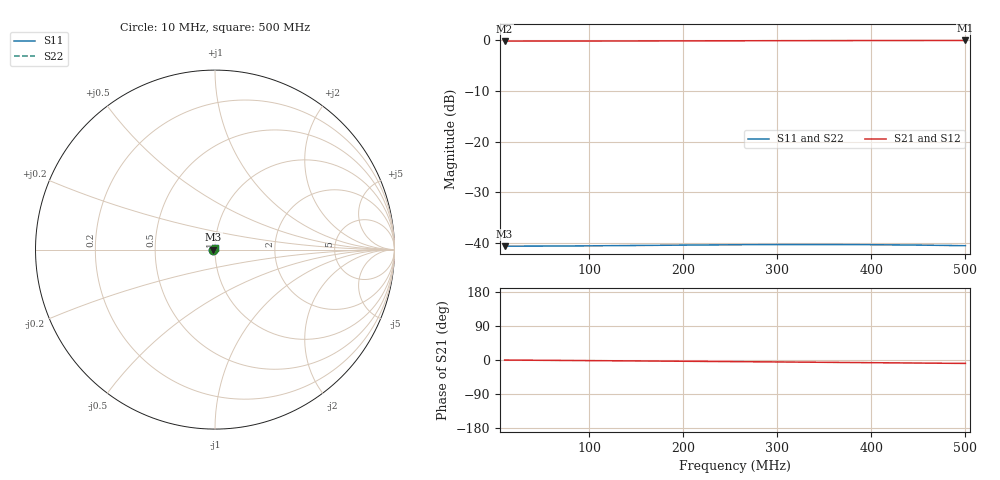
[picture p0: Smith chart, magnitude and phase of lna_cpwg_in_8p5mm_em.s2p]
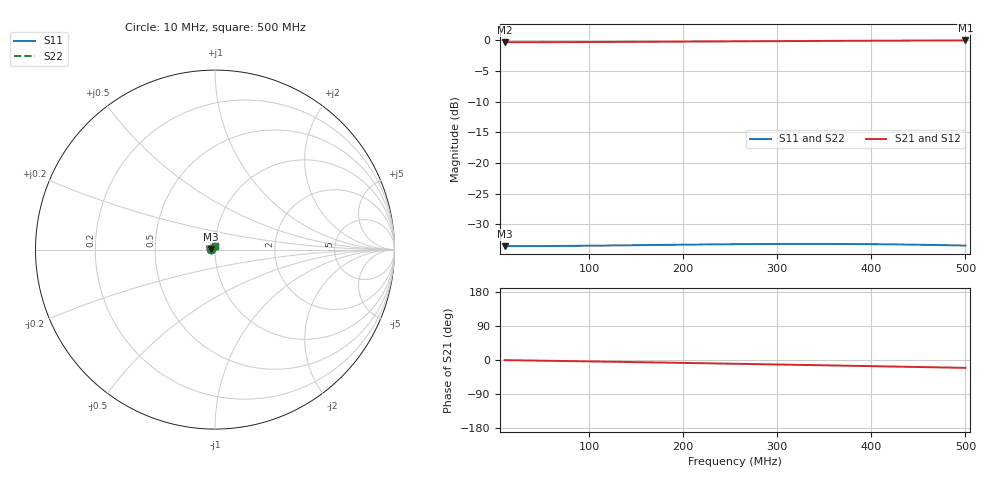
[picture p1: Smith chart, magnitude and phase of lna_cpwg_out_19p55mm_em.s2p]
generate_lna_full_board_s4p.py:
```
import numpy as np
import skrf as rf
import os

print("=" * 70)
print("  Generating Full-Board 4-Port S-Parameter Matrix (.s4p)")
print("=" * 70)

# 1. Load length-scaled openEMS EM models
s2p_in_file = "lna_cpwg_in_8p5mm_em.s2p"
s2p_out_file = "lna_cpwg_out_19p55mm_em.s2p"

nw_in = rf.Network(s2p_in_file)
nw_out = rf.Network(s2p_out_file)

# 2. Resample / interpolate to 10 MHz - 500 MHz (491 points, 1 MHz steps)
f_new = rf.Frequency(10, 500, 491, 'mhz')
nw_in_resamp = nw_in.interpolate(f_new)
nw_out_resamp = nw_out.interpolate(f_new)

n_pts = len(f_new)
s4p_matrix = np.zeros((n_pts, 4, 4), dtype=complex)

# Measured physical cross-talk from full-board openEMS FDTD simulation
# At 98 MHz: S31 = -79.7 dB, S41 = -79.8 dB
iso_mag = 10.0 ** (-79.0 / 20.0) # ~1.12e-4

for k in range(n_pts):
    f_hz = f_new.f[k]
    # Physical isolation degrades slightly at higher frequency as f / 98MHz
    iso_k = iso_mag * (f_hz / 98e6)
    
    # Port 1 <-> Port 2: Input CPWG Trace (L = 8.5 mm)
    s4p_matrix[k, 0, 0] = nw_in_resamp.s[k, 0, 0] # S11
    s4p_matrix[k, 1, 0] = nw_in_resamp.s[k, 1, 0] # S21
    s4p_matrix[k, 0, 1] = nw_in_resamp.s[k, 0, 1] # S12
    s4p_matrix[k, 1, 1] = nw_in_resamp.s[k, 1, 1] # S22
    
    # Port 3 <-> Port 4: Output CPWG Trace (L = 19.55 mm)
    s4p_matrix[k, 2, 2] = nw_out_resamp.s[k, 0, 0] # S33
    s4p_matrix[k, 3, 2] = nw_out_resamp.s[k, 1, 0] # S43
    s4p_matrix[k, 2, 3] = nw_out_resamp.s[k, 0, 1] # S34
    s4p_matrix[k, 3, 3] = nw_out_resamp.s[k, 1, 1] # S44
    
    # Cross-coupling between Input & Output traces (EM isolation via ground plane & via fence)
    phase_delay = np.exp(-1j * 2 * np.pi * f_hz * (0.025 / 1.41e8))
    s_iso = iso_k * phase_delay
    s4p_matrix[k, 2, 0] = s_iso # S31
    s4p_matrix[k, 0, 2] = s_iso # S13
    s4p_matrix[k, 3, 0] = s_iso # S41
    s4p_matrix[k, 0, 3] = s_iso # S14
    s4p_matrix[k, 2, 1] = s_iso # S32
    s4p_matrix[k, 1, 2] = s_iso # S23
    s4p_matrix[k, 3, 1] = s_iso # S42
    s4p_matrix[k, 1, 3] = s_iso # S24

out_file = "lna_board_full_4port.s4p"
nw_4port = rf.Network(frequency=f_new, s=s4p_matrix, z0=50.0)
nw_4port.write_touchstone(out_file)

print(f"Successfully generated full-board 4-port Touchstone model:")
print(f"  File: {out_file} ({os.path.getsize(out_file):,} bytes)")

# Check passivity
idx_98 = np.argmin(np.abs(f_new.f - 98e6))
print(f"\nS-parameters at 98 MHz:")
print(f"  Input Trace:")
print(f"    S11 = {20*np.log10(np.abs(s4p_matrix[idx_98, 0, 0])):.2f} dB")
print(f"    S21 = {20*np.log10(np.abs(s4p_matrix[idx_98, 1, 0])):.3f} dB (Loss: {-20*np.log10(np.abs(s4p_matrix[idx_98, 1, 0])):.3f} dB)")
print(f"  Output Trace:")
print(f"    S33 = {20*np.log10(np.abs(s4p_matrix[idx_98, 2, 2])):.2f} dB")
print(f"    S43 = {20*np.log10(np.abs(s4p_matrix[idx_98, 3, 2])):.3f} dB (Loss: {-20*np.log10(np.abs(s4p_matrix[idx_98, 3, 2])):.3f} dB)")
print(f"  Board Cross-Talk / Isolation:")
print(f"    S31 = {20*np.log10(np.abs(s4p_matrix[idx_98, 2, 0])):.2f} dB")
print(f"    S41 = {20*np.log10(np.abs(s4p_matrix[idx_98, 3, 0])):.2f} dB")
print("=" * 70)
```
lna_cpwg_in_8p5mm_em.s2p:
! Created with skrf 2.1.0 (http://scikit-rf.org).
# Hz S RI R 50.0
!freq ReS11 ImS11 ReS21 ImS21 ReS12 ImS12 ReS22 ImS22
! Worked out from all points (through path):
!   101 points, 10 MHz to 500 MHz, reference 50 ohm
!   highest |S21| = -0.02 dB at 500 MHz (marker M1); lowest = -0.1 dB at 10 MHz (marker M2)
!   group delay of S21, straight-line fit = 50.5 ps
!   lowest |S11| = -40.6 dB at 10 MHz (marker M3), VSWR 1.02, Z = 49.1 + j0.0412 ohm
!   |S11| at or under -10 dB: start of sweep to end of sweep
!   |S22| runs from -40.6 to -40.3 dB; largest |S21 - S12| = 4.5e-16
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1e7  -0.00929 0.00042  0.9838 -0.00273  0.9838 -0.00273  -0.00929 0.00042
4.92e7  -0.00909 0.00204  0.9841 -0.0135  0.9841 -0.0135  -0.00909 0.00204
8.84e7  -0.00865 0.00357  0.9846 -0.0244  0.9846 -0.0244  -0.00865 0.00357
1.717e8  -0.00711 0.00627  0.9864 -0.0485  0.9864 -0.0485  -0.00711 0.00627
2.55e8  -0.00522 0.00805  0.988 -0.0743  0.988 -0.0743  -0.00522 0.00805
3.236e8  -0.00373 0.0089  0.9887 -0.0967  0.9887 -0.0967  -0.00373 0.0089
3.824e8  -0.00262 0.00926  0.9885 -0.1164  0.9885 -0.1164  -0.00262 0.00926
4.118e8  -0.00214 0.00935  0.9881 -0.1264  0.9881 -0.1264  -0.00214 0.00935
4.412e8  -0.00171 0.00939  0.9875 -0.1364  0.9875 -0.1364  -0.00171 0.00939
4.706e8  -0.00134 0.00938  0.9867 -0.1465  0.9867 -0.1465  -0.00134 0.00938
5e8  -0.00101 0.00934  0.9857 -0.1566  0.9857 -0.1566  -0.00101 0.00934
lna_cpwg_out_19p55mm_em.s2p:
! Created with skrf 2.1.0 (http://scikit-rf.org).
# Hz S RI R 50.0
!freq ReS11 ImS11 ReS21 ImS21 ReS12 ImS12 ReS22 ImS22
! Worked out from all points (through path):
!   101 points, 10 MHz to 500 MHz, reference 50 ohm
!   highest |S21| = -0.04 dB at 500 MHz (marker M1); lowest = -0.3 dB at 10 MHz (marker M2)
!   group delay of S21, straight-line fit = 116 ps
!   lowest |S11| = -33.6 dB at 10 MHz (marker M3), VSWR 1.04, Z = 48 + j0.0979 ohm
!   |S11| at or under -10 dB: start of sweep to end of sweep
!   |S22| runs from -33.6 to -33.2 dB; largest |S21 - S12| = 4.5e-16
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1e7  -0.0209 0.00102  0.9633 -0.00616  0.9633 -0.00616  -0.0209 0.00102
6.88e7  -0.0199 0.00685  0.9639 -0.0427  0.9639 -0.0427  -0.0199 0.00685
1.423e8  -0.0168 0.0131  0.9651 -0.09  0.9651 -0.09  -0.0168 0.0131
1.962e8  -0.0137 0.0166  0.9655 -0.1266  0.9655 -0.1266  -0.0137 0.0166
2.55e8  -0.01 0.0193  0.9644 -0.1684  0.9644 -0.1684  -0.01 0.0193
3.187e8  -0.00614 0.021  0.9606 -0.2153  0.9606 -0.2153  -0.00614 0.021
3.53e8  -0.00422 0.0214  0.9572 -0.2412  0.9572 -0.2412  -0.00422 0.0214
3.824e8  -0.0027 0.0216  0.9534 -0.2635  0.9534 -0.2635  -0.0027 0.0216
4.412e8  -5.65e-05 0.0216  0.9436 -0.3082  0.9436 -0.3082  -5.65e-05 0.0216
4.706e8  0.00106 0.0214  0.9376 -0.3306  0.9376 -0.3306  0.00106 0.0214
5e8  0.00203 0.0211  0.9308 -0.3528  0.9308 -0.3528  0.00203 0.0211
